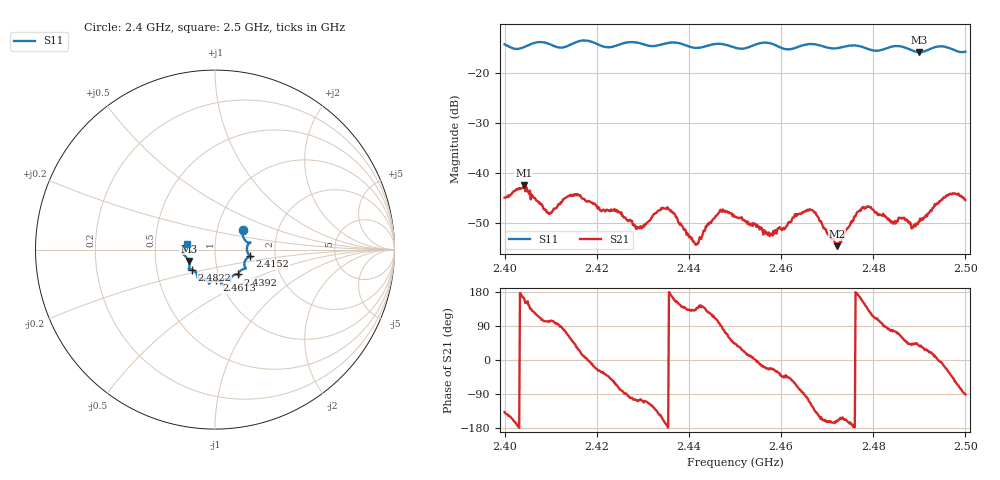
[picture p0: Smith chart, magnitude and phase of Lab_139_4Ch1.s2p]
# Hz S RI R 50
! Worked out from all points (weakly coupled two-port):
!   601 points, 2.4 GHz to 2.5 GHz, reference 50 ohm
!   highest |S21| = -42.46 dB at 2.4042 GHz (marker M1); lowest = -54.7 dB at 2.4722 GHz (marker M2)
!   lowest |S11| = -15.9 dB at 2.49 GHz (marker M3), VSWR 1.38, Z = 36.9 - j4.8 ohm
!   |S11| at or under -10 dB: start of sweep to end of sweep
!   S12 and S22 are empty: the file has one direction only
!   S11 on the Smith chart (normalised r, x): 2.4 GHz: 1.33, +0.31; 2.4152 GHz: 1.48, -0.11; 2.4392 GHz: 1.24, -0.35; 2.4613 GHz: 0.96, -0.34; 2.4822 GHz: 0.76, -0.17; 2.5 GHz: 0.73, +0.05
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2.4e9  0.156 0.1107  -0.00415 -0.00381  0 0  0 0
2.404167e9  0.1733 0.0461  -0.00723 0.0021  0 0  0 0
2.409667e9  0.1898 0.0349  -0.000706 0.0038  0 0  0 0
2.415167e9  0.1947 -0.0364  0.00447 0.00413  0 0  0 0
2.416667e9  0.204 -0.0422  0.00543 0.00152  0 0  0 0
2.428833e9  0.1688 -0.1051  -0.000815 -0.00277  0 0  0 0
2.433333e9  0.1325 -0.1323  -0.00322 -0.00264  0 0  0 0
2.435833e9  0.1341 -0.1466  -0.00426 0.000197  0 0  0 0
2.439167e9  0.1274 -0.1385  -0.00202 0.00182  0 0  0 0
2.441667e9  0.1024 -0.1436  -0.00141 0.00131  0 0  0 0
2.446833e9  0.0853 -0.1735  -6.28e-05 0.00427  0 0  0 0
2.45e9  0.0685 -0.1635  0.00263 0.00248  0 0  0 0
2.457667e9  0.0395 -0.1919  0.00229 -0.000897  0 0  0 0
2.461333e9  0.00744 -0.1705  0.00214 -0.00204  0 0  0 0
2.466667e9  -0.0331 -0.1899  -0.00222 -0.00362  0 0  0 0
2.472167e9  -0.0675 -0.1616  -0.00174 -0.000631  0 0  0 0
2.477333e9  -0.0961 -0.1548  -0.00398 0.00135  0 0  0 0
2.482167e9  -0.1284 -0.1117  -8.35e-05 0.0039  0 0  0 0
2.483333e9  -0.1397 -0.11  0.00044 0.00345  0 0  0 0
2.49e9  -0.1467 -0.0633  0.0026 0.00196  0 0  0 0
2.496333e9  -0.1763 -0.0161  0.00519 -0.00313  0 0  0 0
2.5e9  -0.1581 0.0334  -7.22e-05 -0.00533  0 0  0 0
